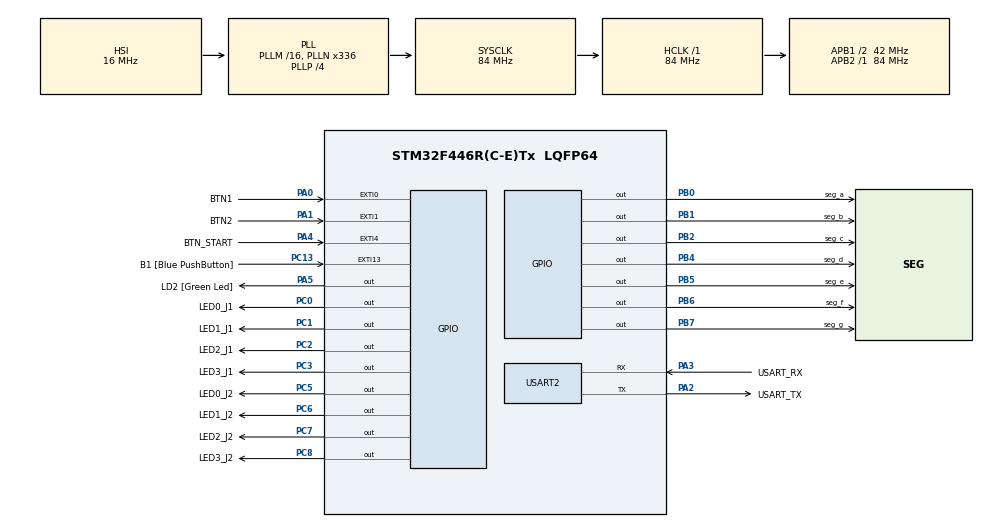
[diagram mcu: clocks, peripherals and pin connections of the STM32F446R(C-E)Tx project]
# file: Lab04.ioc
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Mcu.Family=STM32F4
Mcu.Name=STM32F446R(C-E)Tx
Mcu.Package=LQFP64
NVIC.EXTI0_IRQn=true\:0\:0\:false\:false\:true\:true\:true\:true
NVIC.EXTI15_10_IRQn=true\:0\:0\:false\:false\:true\:true\:true\:true
NVIC.EXTI1_IRQn=true\:0\:0\:false\:false\:true\:true\:true\:true
NVIC.EXTI4_IRQn=true\:0\:0\:false\:false\:true\:true\:true\:true
NVIC.PriorityGroup=NVIC_PRIORITYGROUP_0
NVIC.TIM2_IRQn=true\:0\:0\:false\:false\:true\:true\:true\:true
PA0-WKUP.GPIO_Label=BTN1
PA0-WKUP.GPIO_ModeDefaultEXTI=GPIO_MODE_IT_FALLING
PA0-WKUP.GPIO_PuPd=GPIO_PULLUP
PA0-WKUP.Signal=GPXTI0
PA1.GPIO_Label=BTN2
PA1.GPIO_ModeDefaultEXTI=GPIO_MODE_IT_FALLING
PA1.GPIO_PuPd=GPIO_PULLUP
PA1.Signal=GPXTI1
PA13.GPIO_Label=TMS
PA13.Mode=Serial_Wire
PA13.Signal=SYS_JTMS-SWDIO
PA14.GPIO_Label=TCK
PA14.Mode=Serial_Wire
PA14.Signal=SYS_JTCK-SWCLK
PA2.GPIO_Label=USART_TX
PA2.Mode=Asynchronous
PA2.Signal=USART2_TX
PA3.GPIO_Label=USART_RX
PA3.Mode=Asynchronous
PA3.Signal=USART2_RX
PA4.GPIO_Label=BTN_START
PA4.GPIO_ModeDefaultEXTI=GPIO_MODE_IT_FALLING
PA4.GPIO_PuPd=GPIO_PULLUP
PA4.Signal=GPXTI4
PA5.GPIO_Label=LD2 [Green Led]
PA5.Signal=GPIO_Output
PB0.GPIO_Label=seg_a
PB0.Signal=GPIO_Output
PB1.GPIO_Label=seg_b
PB1.Signal=GPIO_Output
PB2.GPIO_Label=seg_c
PB2.Signal=GPIO_Output
PB3.GPIO_Label=SWO
PB3.Signal=SYS_JTDO-SWO
PB4.GPIO_Label=seg_d
PB4.Signal=GPIO_Output
PB5.GPIO_Label=seg_e
PB5.Signal=GPIO_Output
PB6.GPIO_Label=seg_f
PB6.Signal=GPIO_Output
PB7.GPIO_Label=seg_g
PB7.Signal=GPIO_Output
PC0.GPIO_Label=LED0_J1
PC0.Signal=GPIO_Output
PC1.GPIO_Label=LED1_J1
PC1.Signal=GPIO_Output
PC13.GPIO_Label=B1 [Blue PushButton]
PC13.GPIO_ModeDefaultEXTI=GPIO_MODE_IT_FALLING
PC13.Signal=GPXTI13
PC14-OSC32_IN.Mode=LSE-External-Oscillator
PC14-OSC32_IN.Signal=RCC_OSC32_IN
PC15-OSC32_OUT.Mode=LSE-External-Oscillator
PC15-OSC32_OUT.Signal=RCC_OSC32_OUT
PC2.GPIO_Label=LED2_J1
PC2.Signal=GPIO_Output
PC3.GPIO_Label=LED3_J1
PC3.Signal=GPIO_Output
PC5.GPIO_Label=LED0_J2
PC5.Signal=GPIO_Output
PC6.GPIO_Label=LED1_J2
PC6.Signal=GPIO_Output
PC7.GPIO_Label=LED2_J2
PC7.Signal=GPIO_Output
PC8.GPIO_Label=LED3_J2
PC8.Signal=GPIO_Output
PH0-OSC_IN.Mode=HSE-External-Oscillator
PH0-OSC_IN.Signal=RCC_OSC_IN
PH1-OSC_OUT.Mode=HSE-External-Oscillator
PH1-OSC_OUT.Signal=RCC_OSC_OUT
ProjectManager.HeapSize=0x200
ProjectManager.StackSize=0x400
ProjectManager.TargetToolchain=STM32CubeIDE
RCC.48MHZClocksFreq_Value=84000000
RCC.AHBFreq_Value=84000000
RCC.APB1CLKDivider=RCC_HCLK_DIV2
RCC.APB1Freq_Value=42000000
RCC.APB1TimFreq_Value=84000000
RCC.APB2Freq_Value=84000000
RCC.APB2TimFreq_Value=84000000
RCC.CortexFreq_Value=84000000
RCC.FLatency-AdvancedSettings=FLASH_LATENCY_2
RCC.HCLKFreq_Value=84000000
RCC.HSE_VALUE=8000000
RCC.HSI_VALUE=16000000
RCC.PLLN=336
RCC.PLLP=RCC_PLLP_DIV4
RCC.SYSCLKFreq_VALUE=84000000
RCC.SYSCLKSource=RCC_SYSCLKSOURCE_PLLCLK
RCC.USBFreq_Value=168000000
RCC.VCOOutputFreq_Value=336000000
TIM2.Period=999
TIM2.Prescaler=83
USART2.VirtualMode=VM_ASYNC
VP_TIM2_VS_ClockSourceINT.Mode=Internal
board=NUCLEO-F446RE

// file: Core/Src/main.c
/* USER CODE BEGIN Header */
/**
  ******************************************************************************
  * @file           : main.c
  * @brief          : Main program body
  ******************************************************************************
  * @attention
  *
  * Copyright (c) 2026 STMicroelectronics.
  * All rights reserved.
  *
  * This software is licensed under terms that can be found in the LICENSE file
  * in the root directory of this software component.
  * If no LICENSE file comes with this software, it is provided AS-IS.
  *
  ******************************************************************************
  */
/* USER CODE END Header */
#include "main.h"

/* USER CODE BEGIN Includes */
#include "stdint.h"
/* USER CODE END Includes */

TIM_HandleTypeDef htim2;

UART_HandleTypeDef huart2;

/* USER CODE BEGIN PV */
volatile uint8_t contadorJ1 = 0;		// Contador para jugador 1
volatile uint8_t contadorJ2 = 0;		// Contador para jugador 2
volatile uint8_t digito = 0;			// Conteo inicia en 5... 4... 3...
volatile uint8_t strt_flag = 0;		// Se presiona el botón de inicio
volatile uint8_t ganador = 0;		// Bandera para saber ganador
volatile uint8_t corran = 0;			// Bandera para indicar cada carrera
volatile uint16_t ms_counter = 0;
uint8_t tabla_7seg[16] = {0x3F, 0x06, 0x5B, 0x4F, 0x66, 0x6D, 0x7D, 0x07, 0x7F,0x6F, 0x77, 0x7C, 0x39, 0x5E, 0x79, 0x71};
//uint8_t tabla_7seg[16] = {0x7E, 0x30, 0x6D, 0x79, 0x33, 0x5B, 0X5F, 0x70, 0x7F, 0X7B, 0x77, 0x1F, 0x4E, 0x3D, 0x4F, 0x47};
/* USER CODE END PV */

void SystemClock_Config(void);
static void MX_GPIO_Init(void);
static void MX_USART2_UART_Init(void);
static void MX_TIM2_Init(void);
/* USER CODE BEGIN PFP */
void display_mostrar(uint8_t numero);
/* USER CODE END PFP */

/* USER CODE BEGIN 0 */
void display_mostrar(uint8_t numero)
{
    uint8_t valor = tabla_7seg[numero];
    HAL_GPIO_WritePin(GPIOB, seg_a_Pin, (valor & 0x01) ? GPIO_PIN_SET : GPIO_PIN_RESET);
    HAL_GPIO_WritePin(GPIOB, seg_b_Pin, (valor & 0x02) ? GPIO_PIN_SET : GPIO_PIN_RESET);
    HAL_GPIO_WritePin(GPIOB, seg_c_Pin, (valor & 0x04) ? GPIO_PIN_SET : GPIO_PIN_RESET);
    HAL_GPIO_WritePin(GPIOB, seg_d_Pin, (valor & 0x08) ? GPIO_PIN_SET : GPIO_PIN_RESET);
    HAL_GPIO_WritePin(GPIOB, seg_e_Pin, (valor & 0x10) ? GPIO_PIN_SET : GPIO_PIN_RESET);
    HAL_GPIO_WritePin(GPIOB, seg_f_Pin, (valor & 0x20) ? GPIO_PIN_SET : GPIO_PIN_RESET);
    HAL_GPIO_WritePin(GPIOB, seg_g_Pin, (valor & 0x40) ? GPIO_PIN_SET : GPIO_PIN_RESET);
    //HAL_GPIO_WritePin(GPIOB, Disp_pt_Pin, (value & 0x80) ? GPIO_PIN_SET : GPIO_PIN_RESET);
}
/* USER CODE END 0 */

int main(void)
{

  /* MCU Configuration--------------------------------------------------------*/

  /* Reset of all peripherals, Initializes the Flash interface and the Systick. */
  HAL_Init();

  /* Configure the system clock */
  SystemClock_Config();

  /* Initialize all configured peripherals */
  MX_GPIO_Init();
  MX_USART2_UART_Init();
  MX_TIM2_Init();

  /* USER CODE BEGIN 2 */
  HAL_TIM_Base_Start_IT(&htim2);
  /* USER CODE END 2 */

  /* Infinite loop */
  /* USER CODE BEGIN WHILE */
  while (1)
  {
	  //display_mostrar(8);
	  if(ganador == 0){
	  switch(contadorJ1){
	  case 0:
		  HAL_GPIO_WritePin(GPIOC, LED0_J1_Pin|LED1_J1_Pin|LED2_J1_Pin|LED3_J1_Pin, GPIO_PIN_RESET);
		  break;
	  case 1:
		  HAL_GPIO_WritePin(GPIOC, LED0_J1_Pin, GPIO_PIN_SET);
		  HAL_GPIO_WritePin(GPIOC, LED1_J1_Pin|LED2_J1_Pin|LED3_J1_Pin, GPIO_PIN_RESET);
		  break;
	  case 2:
		  HAL_GPIO_WritePin(GPIOC, LED0_J1_Pin|LED1_J1_Pin, GPIO_PIN_SET);
		  HAL_GPIO_WritePin(GPIOC, LED2_J1_Pin|LED3_J1_Pin, GPIO_PIN_RESET);
	  	  break;
	  case 3:
		  HAL_GPIO_WritePin(GPIOC, LED0_J1_Pin|LED1_J1_Pin|LED2_J1_Pin, GPIO_PIN_SET);
		  HAL_GPIO_WritePin(GPIOC, LED3_J1_Pin, GPIO_PIN_RESET);
	  	  break;
	  case 4:
		  HAL_GPIO_WritePin(GPIOC, LED0_J1_Pin|LED1_J1_Pin|LED2_J1_Pin|LED3_J1_Pin, GPIO_PIN_SET);
	  	  break;
	  }

	  switch(contadorJ2){
	  case 0:
	  		  HAL_GPIO_WritePin(GPIOC, LED0_J2_Pin|LED1_J2_Pin|LED2_J2_Pin|LED3_J2_Pin, GPIO_PIN_RESET);
	  		  break;
	  case 1:
	  		  HAL_GPIO_WritePin(GPIOC, LED0_J2_Pin, GPIO_PIN_SET);
	  		  HAL_GPIO_WritePin(GPIOC, LED1_J2_Pin|LED2_J2_Pin|LED3_J2_Pin, GPIO_PIN_RESET);
	  		  break;
	  case 2:
	  		  HAL_GPIO_WritePin(GPIOC, LED0_J2_Pin|LED1_J2_Pin, GPIO_PIN_SET);
	  		  HAL_GPIO_WritePin(GPIOC, LED2_J2_Pin|LED3_J2_Pin, GPIO_PIN_RESET);
	  	  	  break;
	  case 3:
	  		  HAL_GPIO_WritePin(GPIOC, LED0_J2_Pin|LED1_J2_Pin|LED2_J2_Pin, GPIO_PIN_SET);
	  		  HAL_GPIO_WritePin(GPIOC, LED3_J2_Pin, GPIO_PIN_RESET);
	  	  	  break;
	  case 4:
	  		  HAL_GPIO_WritePin(GPIOC, LED0_J2_Pin|LED1_J2_Pin|LED2_J2_Pin|LED3_J2_Pin, GPIO_PIN_SET);
	  	  	  break;
	  }
	  }
	  if(corran)
	      {
	          if(contadorJ1 >= 4)
	          {
	              ganador = 1;
	              corran = 0;
	              HAL_GPIO_WritePin(GPIOC, LED0_J1_Pin|LED1_J1_Pin|LED2_J1_Pin|LED3_J1_Pin, GPIO_PIN_SET);
	          }
	          else if(contadorJ2 >= 4)
	          {
	              ganador = 2;
	              corran = 0;
	              HAL_GPIO_WritePin(GPIOC, LED0_J2_Pin|LED1_J2_Pin|LED2_J2_Pin|LED3_J2_Pin, GPIO_PIN_SET);
	          }
	      }

	      // =========================
	      // MOSTRAR GANADOR
	      // =========================
	      if(ganador == 1)
	      {
	          display_mostrar(1);
	          HAL_GPIO_WritePin(GPIOC, LED0_J2_Pin, GPIO_PIN_RESET);
	          HAL_GPIO_WritePin(GPIOC, LED1_J2_Pin, GPIO_PIN_RESET);
	          HAL_GPIO_WritePin(GPIOC, LED2_J2_Pin, GPIO_PIN_RESET);
	          HAL_GPIO_WritePin(GPIOC, LED3_J2_Pin, GPIO_PIN_RESET);
	      }
	      else if(ganador == 2)
	      {
	          display_mostrar(2);
	          HAL_GPIO_WritePin(GPIOC, LED0_J1_Pin, GPIO_PIN_RESET);
	          HAL_GPIO_WritePin(GPIOC, LED1_J1_Pin, GPIO_PIN_RESET);
	          HAL_GPIO_WritePin(GPIOC, LED2_J1_Pin, GPIO_PIN_RESET);
	          HAL_GPIO_WritePin(GPIOC, LED3_J1_Pin, GPIO_PIN_RESET);
	      }

    /* USER CODE END WHILE */

  }
}

void SystemClock_Config(void)
{
  RCC_OscInitTypeDef RCC_OscInitStruct = {0};
  RCC_ClkInitTypeDef RCC_ClkInitStruct = {0};

  /** Configure the main internal regulator output voltage
  */
  __HAL_RCC_PWR_CLK_ENABLE();
  __HAL_PWR_VOLTAGESCALING_CONFIG(PWR_REGULATOR_VOLTAGE_SCALE3);

  /** Initializes the RCC Oscillators according to the specified parameters
  * in the RCC_OscInitTypeDef structure.
  */
  RCC_OscInitStruct.OscillatorType = RCC_OSCILLATORTYPE_HSI;
  RCC_OscInitStruct.HSIState = RCC_HSI_ON;
  RCC_OscInitStruct.HSICalibrationValue = RCC_HSICALIBRATION_DEFAULT;
  RCC_OscInitStruct.PLL.PLLState = RCC_PLL_ON;
  RCC_OscInitStruct.PLL.PLLSource = RCC_PLLSOURCE_HSI;
  RCC_OscInitStruct.PLL.PLLM = 16;
  RCC_OscInitStruct.PLL.PLLN = 336;
  RCC_OscInitStruct.PLL.PLLP = RCC_PLLP_DIV4;
  RCC_OscInitStruct.PLL.PLLQ = 2;
  RCC_OscInitStruct.PLL.PLLR = 2;
  if (HAL_RCC_OscConfig(&RCC_OscInitStruct) != HAL_OK)
  {
    Error_Handler();
  }

  /** Initializes the CPU, AHB and APB buses clocks
  */
  RCC_ClkInitStruct.ClockType = RCC_CLOCKTYPE_HCLK|RCC_CLOCKTYPE_SYSCLK
                              |RCC_CLOCKTYPE_PCLK1|RCC_CLOCKTYPE_PCLK2;
  RCC_ClkInitStruct.SYSCLKSource = RCC_SYSCLKSOURCE_PLLCLK;
  RCC_ClkInitStruct.AHBCLKDivider = RCC_SYSCLK_DIV1;
  RCC_ClkInitStruct.APB1CLKDivider = RCC_HCLK_DIV2;
  RCC_ClkInitStruct.APB2CLKDivider = RCC_HCLK_DIV1;

  if (HAL_RCC_ClockConfig(&RCC_ClkInitStruct, FLASH_LATENCY_2) != HAL_OK)
  {
    Error_Handler();
  }
}

static void MX_TIM2_Init(void)
{

  TIM_ClockConfigTypeDef sClockSourceConfig = {0};
  TIM_MasterConfigTypeDef sMasterConfig = {0};

  htim2.Instance = TIM2;
  htim2.Init.Prescaler = 83;
  htim2.Init.CounterMode = TIM_COUNTERMODE_UP;
  htim2.Init.Period = 999;
  htim2.Init.ClockDivision = TIM_CLOCKDIVISION_DIV1;
  htim2.Init.AutoReloadPreload = TIM_AUTORELOAD_PRELOAD_DISABLE;
  if (HAL_TIM_Base_Init(&htim2) != HAL_OK)
  {
    Error_Handler();
  }
  sClockSourceConfig.ClockSource = TIM_CLOCKSOURCE_INTERNAL;
  if (HAL_TIM_ConfigClockSource(&htim2, &sClockSourceConfig) != HAL_OK)
  {
    Error_Handler();
  }
  sMasterConfig.MasterOutputTrigger = TIM_TRGO_RESET;
  sMasterConfig.MasterSlaveMode = TIM_MASTERSLAVEMODE_DISABLE;
  if (HAL_TIMEx_MasterConfigSynchronization(&htim2, &sMasterConfig) != HAL_OK)
  {
    Error_Handler();
  }

}

static void MX_USART2_UART_Init(void)
{

  huart2.Instance = USART2;
  huart2.Init.BaudRate = 115200;
  huart2.Init.WordLength = UART_WORDLENGTH_8B;
  huart2.Init.StopBits = UART_STOPBITS_1;
  huart2.Init.Parity = UART_PARITY_NONE;
  huart2.Init.Mode = UART_MODE_TX_RX;
  huart2.Init.HwFlowCtl = UART_HWCONTROL_NONE;
  huart2.Init.OverSampling = UART_OVERSAMPLING_16;
  if (HAL_UART_Init(&huart2) != HAL_OK)
  {
    Error_Handler();
  }

}

static void MX_GPIO_Init(void)
{
  GPIO_InitTypeDef GPIO_InitStruct = {0};

  /* GPIO Ports Clock Enable */
  __HAL_RCC_GPIOC_CLK_ENABLE();
  __HAL_RCC_GPIOH_CLK_ENABLE();
  __HAL_RCC_GPIOA_CLK_ENABLE();
  __HAL_RCC_GPIOB_CLK_ENABLE();

  /*Configure GPIO pin Output Level */
  HAL_GPIO_WritePin(GPIOC, LED0_J1_Pin|LED1_J1_Pin|LED2_J1_Pin|LED3_J1_Pin
                          |LED0_J2_Pin|LED1_J2_Pin|LED2_J2_Pin|LED3_J2_Pin, GPIO_PIN_RESET);

  /*Configure GPIO pin Output Level */
  HAL_GPIO_WritePin(LD2_GPIO_Port, LD2_Pin, GPIO_PIN_RESET);

  /*Configure GPIO pin Output Level */
  HAL_GPIO_WritePin(GPIOB, seg_a_Pin|seg_b_Pin|seg_c_Pin|seg_d_Pin
                          |seg_e_Pin|seg_f_Pin|seg_g_Pin, GPIO_PIN_RESET);

  /*Configure GPIO pin : B1_Pin */
  GPIO_InitStruct.Pin = B1_Pin;
  GPIO_InitStruct.Mode = GPIO_MODE_IT_FALLING;
  GPIO_InitStruct.Pull = GPIO_NOPULL;
  HAL_GPIO_Init(B1_GPIO_Port, &GPIO_InitStruct);

  /*Configure GPIO pins : LED0_J1_Pin LED1_J1_Pin LED2_J1_Pin LED3_J1_Pin
                           LED0_J2_Pin LED1_J2_Pin LED2_J2_Pin LED3_J2_Pin */
  GPIO_InitStruct.Pin = LED0_J1_Pin|LED1_J1_Pin|LED2_J1_Pin|LED3_J1_Pin
                          |LED0_J2_Pin|LED1_J2_Pin|LED2_J2_Pin|LED3_J2_Pin;
  GPIO_InitStruct.Mode = GPIO_MODE_OUTPUT_PP;
  GPIO_InitStruct.Pull = GPIO_NOPULL;
  GPIO_InitStruct.Speed = GPIO_SPEED_FREQ_LOW;
  HAL_GPIO_Init(GPIOC, &GPIO_InitStruct);

  /*Configure GPIO pins : BTN1_Pin BTN2_Pin BTN_START_Pin */
  GPIO_InitStruct.Pin = BTN1_Pin|BTN2_Pin|BTN_START_Pin;
  GPIO_InitStruct.Mode = GPIO_MODE_IT_FALLING;
  GPIO_InitStruct.Pull = GPIO_PULLUP;
  HAL_GPIO_Init(GPIOA, &GPIO_InitStruct);

  /*Configure GPIO pin : LD2_Pin */
  GPIO_InitStruct.Pin = LD2_Pin;
  GPIO_InitStruct.Mode = GPIO_MODE_OUTPUT_PP;
  GPIO_InitStruct.Pull = GPIO_NOPULL;
  GPIO_InitStruct.Speed = GPIO_SPEED_FREQ_LOW;
  HAL_GPIO_Init(LD2_GPIO_Port, &GPIO_InitStruct);

  /*Configure GPIO pins : seg_a_Pin seg_b_Pin seg_c_Pin seg_d_Pin
                           seg_e_Pin seg_f_Pin seg_g_Pin */
  GPIO_InitStruct.Pin = seg_a_Pin|seg_b_Pin|seg_c_Pin|seg_d_Pin
                          |seg_e_Pin|seg_f_Pin|seg_g_Pin;
  GPIO_InitStruct.Mode = GPIO_MODE_OUTPUT_PP;
  GPIO_InitStruct.Pull = GPIO_NOPULL;
  GPIO_InitStruct.Speed = GPIO_SPEED_FREQ_LOW;
  HAL_GPIO_Init(GPIOB, &GPIO_InitStruct);

  /* EXTI interrupt init*/
  HAL_NVIC_SetPriority(EXTI0_IRQn, 0, 0);
  HAL_NVIC_EnableIRQ(EXTI0_IRQn);

  HAL_NVIC_SetPriority(EXTI1_IRQn, 0, 0);
  HAL_NVIC_EnableIRQ(EXTI1_IRQn);

  HAL_NVIC_SetPriority(EXTI4_IRQn, 0, 0);
  HAL_NVIC_EnableIRQ(EXTI4_IRQn);

  HAL_NVIC_SetPriority(EXTI15_10_IRQn, 0, 0);
  HAL_NVIC_EnableIRQ(EXTI15_10_IRQn);

}

/* USER CODE BEGIN 4 */
void HAL_GPIO_EXTI_Callback(uint16_t GPIO_Pin){
	if(GPIO_Pin == BTN_START_Pin)
	    {
	        strt_flag = 1;
	        corran = 0;
	        ganador = 0;
	        contadorJ1 = 0;
	        contadorJ2 = 0;
	        digito = 0;
	        HAL_GPIO_WritePin(GPIOC, LED0_J1_Pin|LED1_J1_Pin|LED2_J1_Pin|LED3_J1_Pin
	                         |LED0_J2_Pin|LED1_J2_Pin|LED2_J2_Pin|LED3_J2_Pin, GPIO_PIN_RESET);
	    }

	if(ganador == 0 && corran == 1)
	    {
	        if(GPIO_Pin == BTN1_Pin && contadorJ1 < 4)
	            contadorJ1++;

	        else if(GPIO_Pin == BTN2_Pin && contadorJ2 < 4)
	            contadorJ2++;
	    }
}

void HAL_TIM_PeriodElapsedCallback(TIM_HandleTypeDef *htim)
{
    if(htim->Instance == TIM2)
    {

        if(strt_flag)
        {
        	ms_counter++;

        	if(ms_counter >= 500)   // 500 ms - 0.5 seg
            {
                ms_counter = 0;
                digito++;

                switch(digito)
                {
                    case 1: display_mostrar(5); break;
                    case 2: display_mostrar(4); break;
                    case 3: display_mostrar(3); break;
                    case 4: display_mostrar(2); break;
                    case 5: display_mostrar(1); break;
                    case 6:
                        display_mostrar(0);
                        strt_flag = 0;
                        corran = 1;
                        digito = 0;
                        break;
                }
            }
        }
        else
        {
            ms_counter = 0;
        }
    }
}

/* USER CODE END 4 */

void Error_Handler(void)
{
  __disable_irq();
  while (1)
  {
  }
}
